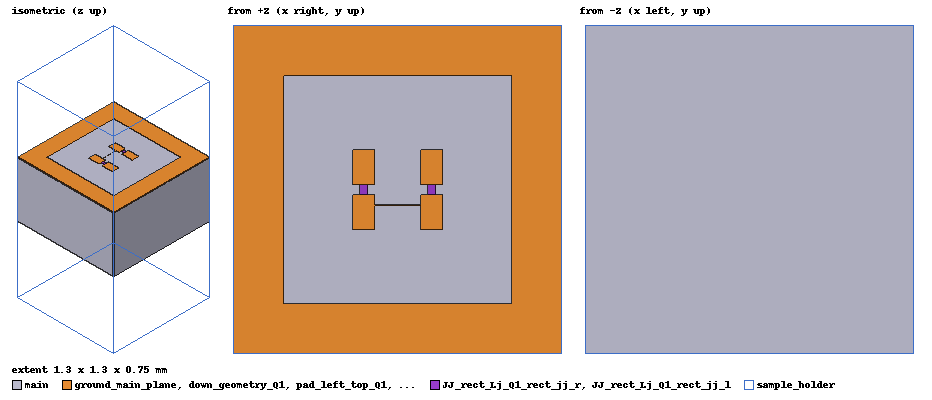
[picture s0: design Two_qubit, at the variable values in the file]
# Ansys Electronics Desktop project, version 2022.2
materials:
  vacuum: permittivity=1
  silicon: permittivity=11.9

design Two_qubit (HFSS, Eigenmode, model units mm)
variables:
  Lj = 11nH
  Cj = 10fF
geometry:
  pad_left_top_Q1 = rectangle(corner=(-0.00018, 2e-05, 0), x_size=9e-05, y_size=0.00014)
  pad_right_top_Q1 = rectangle(corner=(9e-05, 2e-05, 0), x_size=9e-05, y_size=0.00014)
  down_geometry_Q1 = polyline(z=0, xy: (-9e-05, -0.00016) (-0.00018, -0.00016) (-0.00018, -2e-05) (-9e-05, -2e-05) (-9e-05, -5.75e-05) (9e-05, -5.75e-05) (9e-05, -2e-05) (0.00018, -2e-05) (0.00018, -0.00016) (9e-05, -0.00016) (9e-05, -6.25e-05) (-9e-05, -6.25e-05) (-9e-05, -0.00016), closed, covered)
  rect_pk_Q1 = rectangle(corner=(-0.00045, -0.00045, 0), x_size=0.0009, y_size=0.0009)
  JJ_rect_Lj_Q1_rect_jj_l = rectangle(corner=(-0.00015, -2e-05, 0), x_size=3e-05, y_size=4e-05)
  JJ_Lj_Q1_rect_jj_l_ = polyline((-0.000135, -2e-05, 0) (-0.000135, 2e-05, 0))
  JJ_rect_Lj_Q1_rect_jj_r = rectangle(corner=(0.00012, -2e-05, 0), x_size=3e-05, y_size=4e-05)
  JJ_Lj_Q1_rect_jj_r_ = polyline((0.000135, -2e-05, 0) (0.000135, 2e-05, 0))
  ground_main_plane = rectangle(corner=(-0.00065, -0.00065, 0), x_size=0.0013, y_size=0.0013)
  main [silicon] = box(corner=(-0.00065, -0.00065, -0.00075), size=(0.0013, 0.0013, 0.00075))
  sample_holder [vacuum] = box(corner=(-0.00065, -0.00065, -0.00165), size=(0.0013, 0.0013, 0.00254))
  ground_main_plane.subtract(rect_pk_Q1)
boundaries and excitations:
  Lj_Lj_Q1_rect_jj_l: Lumped RLC Objects=JJ_rect_Lj_Q1_rect_jj_l CurrentLine{(-0.135, -0.02, 0) -> (-0.135, 0.02, 0)} RLC_Type=Parallel Inductance=10nH
  Lj_Lj_Q1_rect_jj_r: Lumped RLC Objects=JJ_rect_Lj_Q1_rect_jj_r CurrentLine{(0.135, -0.02, 0) -> (0.135, 0.02, 0)} RLC_Type=Parallel Inductance=10nH
  PerfE: Perfect E Objects=[pad_left_top_Q1, pad_right_top_Q1, down_geometry_Q1, ground_main_plane]
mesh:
  small_mesh: LengthBased Objects=[JJ_rect_Lj_Q1_rect_jj_l, JJ_rect_Lj_Q1_rect_jj_r] MaxLength=7um
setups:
  Setup: HfssEigen MinimumFrequency=1GHz NumModes=3 MaxDeltaFreq=0.5 ConvergeOnRealFreq=true MaximumPasses=10 MinimumPasses=1 MinimumConvergedPasses=1 PercentRefinement=30 BasisOrder=1
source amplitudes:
  #-10:1, #-10:2: 0 0
  #-10:3: 1 0
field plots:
  Mesh1, Mesh2: MeshPlots over down_geometry_Q1.face ground_main_plane.face(at (0, 0, 0)) pad_left_top_Q1.face pad_right_top_Q1.face on Setup : LastAdaptive at Phase=0deg
  Mesh3: MeshPlots on Setup : LastAdaptive at Phase=0deg
  Vector_E1, ComplexMag_E1, Mag_E1: E Field on Setup : LastAdaptive at Phase=0deg
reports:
  Freq. vs. pass: re(Mode(1)), re(Mode(2)), re(Mode(3)) vs Pass on Setup : AdaptivePass [Cj=10fF Lj=11nH]
